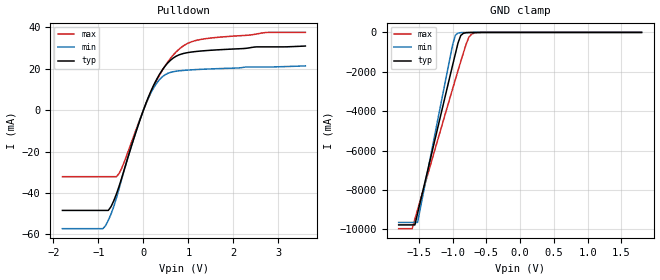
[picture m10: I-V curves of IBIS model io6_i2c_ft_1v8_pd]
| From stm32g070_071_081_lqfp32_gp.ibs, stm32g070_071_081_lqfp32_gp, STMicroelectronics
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|   Model io6_i2c_ft_1v8_pd
[Model]  io6_i2c_ft_1v8_pd
Model_type I/O_open_drain
Polarity   Non-Inverting
Enable   Active-High
Vinl =   0.540000V
Vinh =   1.260000V
Vmeas =  0.900000V
Cref =   30.000000pF
Rref =   100.000000
Vref =   2.000000V
C_comp   1.962900pF   1.853500pF   2.066400pF
[Temperature Range]   25.000000   -40.000000   0.125000k
[Pullup Reference]   1.800000V   1.600000V   2.000000V
[Pulldown Reference]   0.0V   0.0V   0.0V
[POWER Clamp Reference]   1.800000V   1.600000V   2.000000V
[GND Clamp Reference]   0.0V   0.0V   0.0V
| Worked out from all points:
|   slope of the pulldown table from 0 to 0.27 V, typ, clamps not added: 19.5 ohm
|   GND clamp passes 1 mA (typ) near -0.58 V on its own axis
[Pulldown]
|Voltage   I(typ)   I(min)   I(max)
-1.8V     -48.4mA    -57.21mA   -32.11mA
-900mV    -48.4mA    -57.21mA   -32.11mA
-720mV    -46.59mA   -50.17mA   -32.11mA
-600mV    -40.49mA   -42.46mA   -32.11mA
-480mV    -32.55mA   -33.19mA   -27.92mA
0V        5.59pA     4.76pA     350.4pA
240mV     12.61mA    11.25mA    12.03mA
480mV     21.24mA    17.09mA    21.34mA
840mV     27.09mA    19.12mA    30.31mA
1.2V      28.42mA    19.65mA    33.84mA
2.76V     30.59mA    20.86mA    37.58mA
3.6V      30.99mA    21.4mA     37.58mA
[GND_clamp]
|Voltage   I(typ)   I(min)   I(max)
-1.8V     -9.78A     -9.654A    -9.97A
-1.6V     -9.78A     -9.654A    -9.97A
-1.56V    -9.78A     -9.654A    -9.488A
-1.52V    -9.197A    -9.654A    -9.009A
-1V       -1.657A    -623.4mA   -2.861A
-960mV    -1.089A    -143.5mA   -2.397A
-920mV    -532.3mA   -32.25mA   -1.936A
-880mV    -156.3mA   -12.42mA   -1.48A
-840mV    -44.7mA    -7.779mA   -1.031A
-760mV    -8.016mA   -3.95mA    -244.2mA
-680mV    -3.283mA   -1.507mA   -34.99mA
1.8V      0A         0A         0A
[POWER_clamp]
|Voltage   I(typ)   I(min)   I(max)
-1.8V     0A         0A         0A
0V        0A         0A         0A
[Ramp]
| variable   typ   min   max
dV/dt_r  0.72041/0.64222n   0.55729/1.09866n   0.79948/0.66419n
dV/dt_f  0.72041/5.32491n   0.55791/7.70210n   0.79948/4.48839n
R_load = 50.000000
|End [Model] io6_i2c_ft_1v8_pd
